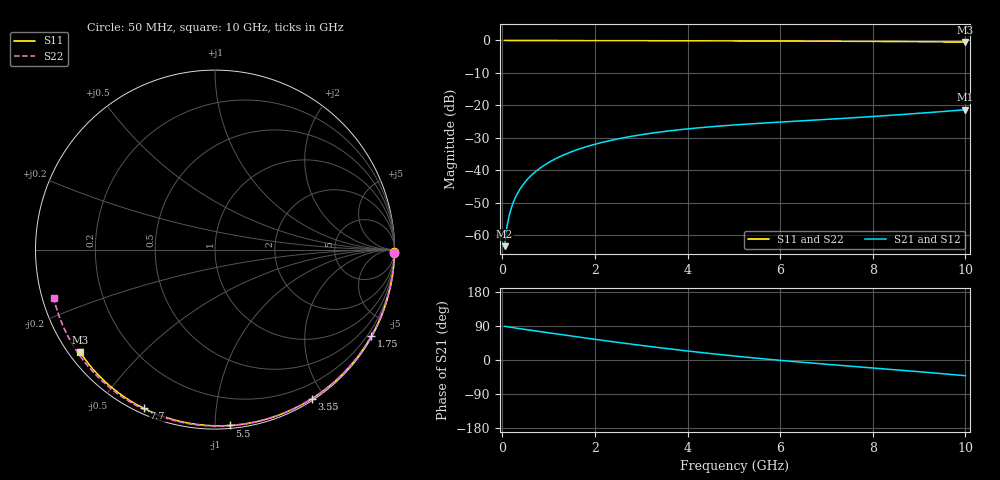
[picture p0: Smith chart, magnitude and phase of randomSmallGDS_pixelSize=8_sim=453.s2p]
! freq	dB(S11)	phase(S11)	dB(S12)	phase(S12)
!  dB(S21)	phase(S21)	dB(S22)	phase(S22)
!S-par simulation data
#  GHz  S  DB  R 50
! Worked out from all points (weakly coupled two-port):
!   200 points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, 50 MHz to 10 GHz, reference 50 ohm
!   highest |S21| = -21.34 dB at 10 GHz (marker M1); lowest = -63.3 dB at 50 MHz (marker M2)
!   lowest |S11| = -0.5 dB at 10 GHz (marker M3), VSWR 34.83, Z = 1.6 - j16.9 ohm
!   |S11| at or under -10 dB: nowhere
!   |S22| runs from -0.6 to 0.0 dB; largest |S21 - S12| = 0
!   S11 on the Smith chart (normalised r, x): 50 MHz: open; 1.75 GHz: 0.04, -3.88; 3.55 GHz: 0.02, -1.84; 5.5 GHz: 0.02, -1.09; 7.7 GHz: 0.02, -0.65; 10 GHz: 0.03, -0.34
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0.05  -0.00 -0.8  -63.33 89.0  -63.33 89.0  -0.00 -1.0
0.1  -0.00 -1.7  -57.32 88.0  -57.32 88.0  -0.00 -1.9
0.15  -0.00 -2.5  -53.81 87.0  -53.81 87.0  -0.00 -2.9
0.2  -0.00 -3.4  -51.33 86.0  -51.33 86.0  -0.00 -3.9
0.25  -0.00 -4.2  -49.40 85.0  -49.40 85.0  -0.00 -4.9
0.35  -0.00 -5.9  -46.51 83.2  -46.51 83.2  -0.01 -6.8
0.5  -0.01 -8.4  -43.46 80.5  -43.46 80.5  -0.01 -9.7
0.7  -0.01 -11.7  -40.59 77.0  -40.59 77.0  -0.02 -13.5
1  -0.02 -16.7  -37.58 71.8  -37.58 71.8  -0.02 -19.3
1.35  -0.03 -22.4  -35.09 65.7  -35.09 65.7  -0.03 -25.9
1.75  -0.04 -28.9  -33.00 58.9  -33.00 58.9  -0.04 -33.4
2.6  -0.06 -42.4  -30.01 44.8  -30.01 44.8  -0.07 -48.9
3.4  -0.08 -54.8  -28.20 32.4  -28.20 32.4  -0.09 -63.0
3.55  -0.08 -57.1  -27.93 30.2  -27.93 30.2  -0.09 -65.6
4.3  -0.10 -68.2  -26.82 19.7  -26.82 19.7  -0.12 -78.2
5.05  -0.13 -78.9  -25.98 10.0  -25.98 10.0  -0.15 -90.3
5.5  -0.15 -85.2  -25.55 4.7  -25.55 4.7  -0.17 -97.4
6.7  -0.21 -101.3  -24.55 -8.2  -24.55 -8.2  -0.23 -115.5
7.7  -0.27 -114.1  -23.70 -18.1  -23.70 -18.1  -0.31 -130.1
8.35  -0.32 -122.3  -23.08 -24.3  -23.08 -24.3  -0.36 -139.5
9.2  -0.41 -132.8  -22.21 -32.9  -22.21 -32.9  -0.45 -151.7
10  -0.50 -142.6  -21.34 -41.5  -21.34 -41.5  -0.55 -163.4
